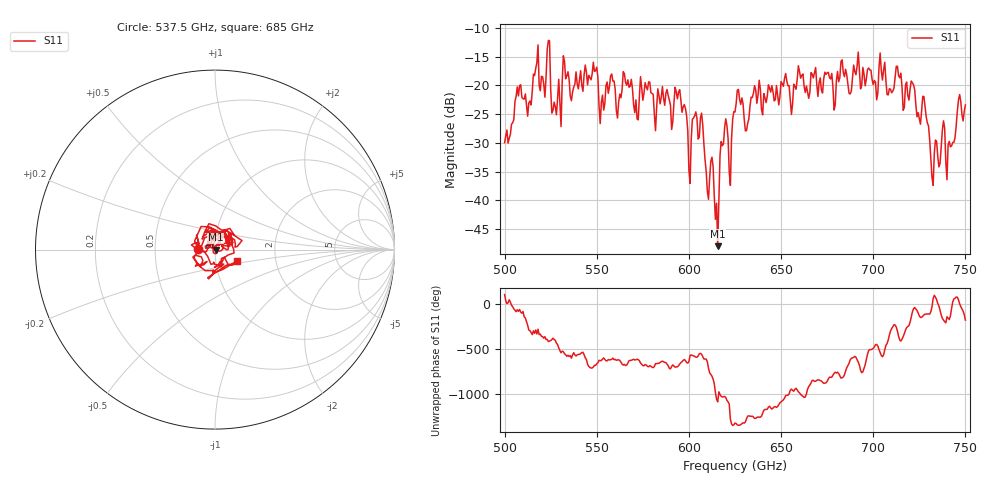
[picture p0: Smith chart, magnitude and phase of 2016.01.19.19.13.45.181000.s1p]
!Created with skrf (http://scikit-rf.org).
# GHz S RI R 50.0
!freq ReS11 ImS11
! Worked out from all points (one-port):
!   401 points, 500 GHz to 750 GHz, reference 50 ohm
!   lowest |S11| = -48.0 dB at 615.6 GHz (marker M1), VSWR 1.01, Z = 50.4 - j0.0752 ohm
!   |S11| at or under -10 dB: start of sweep to end of sweep
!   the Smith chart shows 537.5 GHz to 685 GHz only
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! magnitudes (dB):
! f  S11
! 500 GHz  -30.0
! 507.5 GHz  -21.8
! 513.1 GHz  -23.1
! 516.9 GHz  -17.1
! 520.6 GHz  -18.5
! 523.8 GHz  -12.2
! 526.9 GHz  -22.9
! 531.2 GHz  -19.4
! 548.8 GHz  -17.6
! 552.5 GHz  -22.9
! 558.1 GHz  -18.0
! 562.5 GHz  -21.5
! 593.8 GHz  -22.3
! 600 GHz  -34.8
! 606.9 GHz  -24.8
! 610 GHz  -38.5
! 615.6 GHz  -48.0
! 618.8 GHz  -30.2
! 622.5 GHz  -37.4
! 625 GHz  -24.6
! 656.2 GHz  -23.2
! 660.6 GHz  -18.8
! 687.5 GHz  -21.5
! 690.6 GHz  -18.1
! 718.8 GHz  -21.8
! 728.1 GHz  -23.7
! 731.9 GHz  -36.0
! 750 GHz  -23.4
